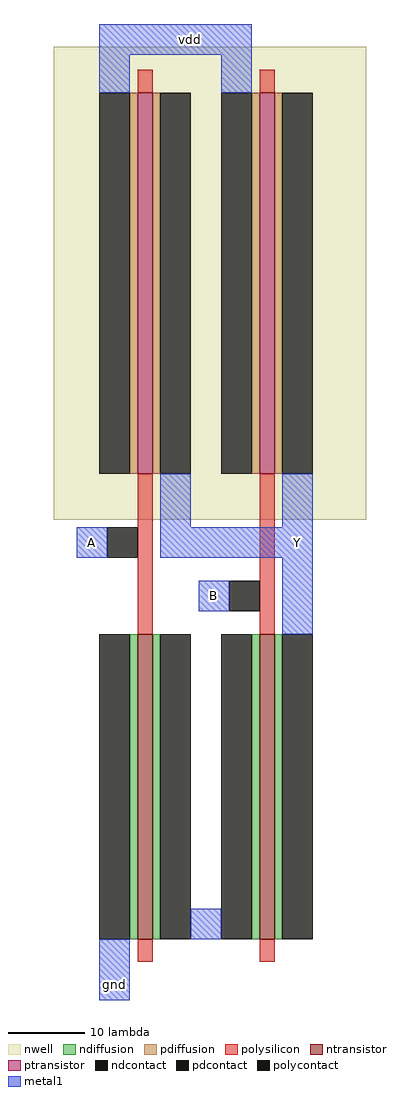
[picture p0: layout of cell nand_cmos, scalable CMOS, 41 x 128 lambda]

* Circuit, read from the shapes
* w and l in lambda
.subckt nand_cmos A B Y gnd vdd
M1 n1 A gnd VSUBS nfet w=40 l=2
M2 Y B n1 VSUBS nfet w=40 l=2
M3 Y A vdd n2 pfet w=50 l=2
M4 Y B vdd n2 pfet w=50 l=2
.ends

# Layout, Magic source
magic
tech scmos
<< nwell >>
rect -6 -6 35 56
<< ntransistor >>
rect 5 -61 7 -21
rect 21 -61 23 -21
<< ptransistor >>
rect 5 0 7 50
rect 21 0 23 50
<< ndiffusion >>
rect 4 -61 5 -21
rect 7 -61 8 -21
rect 20 -61 21 -21
rect 23 -61 24 -21
<< pdiffusion >>
rect 4 0 5 50
rect 7 0 8 50
rect 20 0 21 50
rect 23 0 24 50
<< ndcontact >>
rect 0 -61 4 -21
rect 8 -61 12 -21
rect 16 -61 20 -21
rect 24 -61 28 -21
<< pdcontact >>
rect 0 0 4 50
rect 8 0 12 50
rect 16 0 20 50
rect 24 0 28 50
<< polysilicon >>
rect 5 50 7 53
rect 21 50 23 53
rect 5 -21 7 0
rect 21 -21 23 0
rect 5 -64 7 -61
rect 21 -64 23 -61
<< polycontact >>
rect 1 -11 5 -7
rect 17 -18 21 -14
<< metal1 >>
rect 0 55 20 59
rect 0 50 4 55
rect 16 50 20 55
rect 8 -7 12 0
rect 24 -7 28 0
rect -3 -11 1 -7
rect 8 -11 28 -7
rect 13 -18 17 -14
rect 24 -21 28 -11
rect 12 -61 16 -57
rect 0 -69 4 -61
<< labels >>
rlabel metal1 10 55 14 59 5 vdd
rlabel metal1 -3 -11 1 -7 1 A
rlabel metal1 0 -69 4 -65 1 gnd
rlabel metal1 24 -11 28 -7 1 Y
rlabel metal1 13 -18 17 -14 1 B
<< end >>
